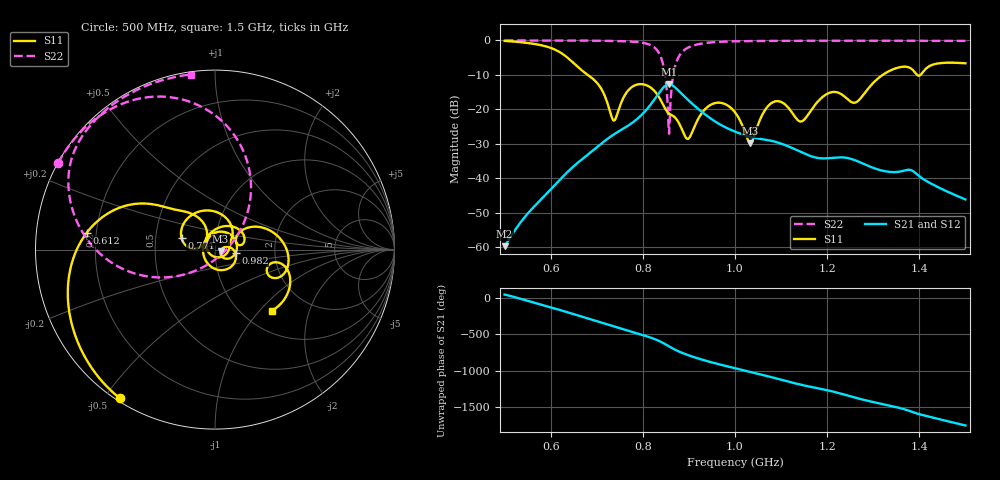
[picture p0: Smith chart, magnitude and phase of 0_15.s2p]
! TOUCHSTONE file generated by CST MICROWAVE STUDIO
! Date and time: Mon Sep 28 14:08:21 2020
! Project name: Scenario_1_Free_SPace.cst
! Parameters = {dx1=415.7; L_HA=400; MT=2.54; Rad_Dielectric=30; Rad_Lower=7.3; Rad_Upper=30; a_HA=580; a_WG=246; b_HA=500; b_WG=121; c_HA=0; c_WG=187; d_feed=85; h_feed=15; h_lower=18; h_upper=40}
! Header version: 2018
! Port assignment regex: !\s*Touchstone port\s*([0-9]+)\s*=\s*(CST MWS port|CST DS port)\s*([0-9]+|Zmin|Zmax)\s*\(\"(.*)\"\)(\s*mode\s*([0-9]+))?.*
! Touchstone port assignment:
! Touchstone port 1 = CST MWS port 1 ("")
! Touchstone port 2 = CST MWS port 2 ("")
# GHz S DB R 50
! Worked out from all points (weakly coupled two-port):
!   1003 points, 500 MHz to 1.5 GHz, reference 50 ohm
!   highest |S21| = -12.77 dB at 857 MHz (marker M1); lowest = -59.7 dB at 500 MHz (marker M2)
!   lowest |S11| = -29.9 dB at 1.033 GHz (marker M3), VSWR 1.07, Z = 53.2 - j1.01 ohm
!   |S11| at or under -10 dB: 680.5 MHz to 1.321 GHz (640.1 MHz wide, 64 % of centre); 1.395 GHz to 1.403 GHz (7.328 MHz wide, 0.524 % of centre)
!   |S22| runs from -27.1 to 0.0 dB; largest |S21 - S12| = 7.2e-06
!   S11 on the Smith chart (normalised r, x): 500 MHz: 0.01, -0.55; 612 MHz: 0.16, +0.06; 771 MHz: 0.68, +0.09; 982 MHz: 1.26, -0.05; 1.5 GHz: 1.35, -1.17
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0.5  -0.15 -122.7  -59.71 42.7  -59.71 42.7  -0.01 151.1
0.612  -2.84 172.5  -41.55 -154.5  -41.55 -154.5  -0.02 143.2
0.667  -8.63 139.9  -34.59 101.0  -34.59 101.0  -0.04 138.3
0.737  -23.26 145.6  -27.27 -34.9  -27.27 -34.9  -0.16 129.7
0.771  -14.11 161.1  -24.47 -100.3  -24.47 -100.3  -0.31 122.9
0.834  -16.23 52.2  -15.46 129.7  -15.46 129.7  -3.42 82.9
0.845  -18.93 34.5  -13.61 95.1  -13.61 95.1  -7.59 61.3
0.857  -21.22 23.0  -12.77 51.3  -12.77 51.3  -27.07 -60.6
0.868  -22.14 2.9  -13.42 12.5  -13.42 12.5  -8.62 -155.4
0.884  -25.58 -51.9  -15.44 -34.0  -15.44 -34.0  -3.54 179.9
0.899  -28.50 -140.9  -17.38 -70.1  -17.38 -70.1  -2.03 167.8
0.939  -19.45 70.5  -21.87 -149.4  -21.87 -149.4  -0.70 151.9
0.982  -18.71 -9.5  -25.40 139.8  -25.40 139.8  -0.32 142.9
1  -20.87 -33.7  -26.47 111.9  -26.47 111.9  -0.25 140.2
1.033  -29.86 -17.1  -27.97 62.1  -27.97 62.1  -0.19 136.2
1.082  -17.96 -23.4  -29.23 -15.6  -29.23 -15.7  -0.14 131.3
1.142  -23.53 179.3  -32.32 -112.6  -32.32 -112.6  -0.10 126.2
1.167  -19.89 99.2  -33.69 -146.8  -33.69 -146.8  -0.09 124.2
1.211  -14.99 33.6  -34.07 154.3  -34.07 154.3  -0.09 120.7
1.263  -17.93 24.1  -34.90 65.0  -34.90 65.0  -0.09 116.8
1.334  -8.93 12.1  -38.13 -39.5  -38.13 -39.5  -0.09 111.4
1.5  -6.64 -46.8  -46.15 47.1  -46.16 47.2  -0.14 97.8
